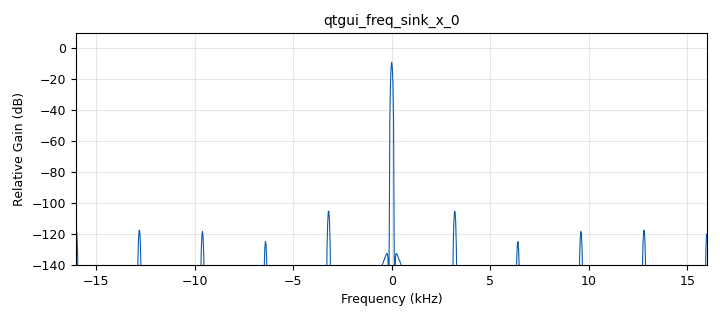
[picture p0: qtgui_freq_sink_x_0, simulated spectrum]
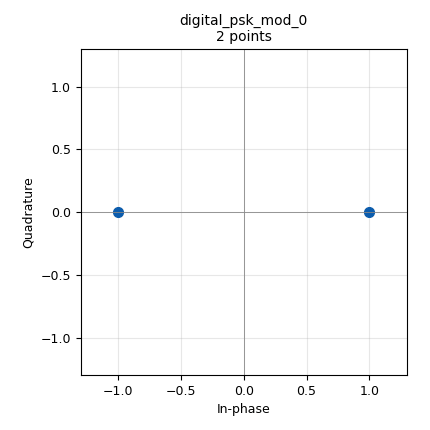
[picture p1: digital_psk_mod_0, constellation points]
options:
  parameters:
    category: Custom
    generate_options: qt_gui
    id: top_block
    output_language: python
  states: {}

blocks:
- name: m
  id: variable
  parameters:
    value: '2'
  states: {}
- name: samp_per_sym
  id: variable
  parameters:
    value: '10'
  states: {}
- name: samp_rate
  id: variable
  parameters:
    value: '32000'
  states: {}
- name: variable_0
  id: variable
  parameters:
    comment: |-
      (COMMENT)
      Enable/Disable appropriate FFT/Freq. blocks.
    value: '0'
  states: {}
- name: analog_random_source_x_0
  id: analog_random_source_x
  parameters:
    max: '2'
    min: '0'
    num_samps: '1000'
    repeat: 'True'
    type: short
  states: {}
- name: analog_sig_source_x_0
  id: analog_sig_source_x
  parameters:
    amp: '1'
    freq: '1000'
    offset: '0'
    phase: '0'
    samp_rate: samp_rate
    type: short
    waveform: analog.GR_COS_WAVE
  states: {}
- name: blocks_add_xx_0
  id: blocks_add_xx
  parameters:
    type: short
  states: {}
- name: blocks_short_to_char_0
  id: blocks_short_to_char
  parameters: {}
  states: {}
- name: blocks_throttle_0
  id: blocks_throttle
  parameters:
    samples_per_second: samp_rate
    type: short
  states: {}
- name: digital_psk_mod_0
  id: digital_psk_mod
  parameters:
    constellation_points: m
    differential: 'True'
    excess_bw: '0.35'
    mod_code: '"gray"'
    samples_per_symbol: samp_per_sym
  states: {}
- name: qtgui_freq_sink_x_0
  id: qtgui_freq_sink_x
  parameters:
    bw: samp_rate
    fc: '0'
    fftsize: '1024'
    showports: 'True'
    type: complex
  states: {}
- name: wxgui_fftsink2_0
  id: wxgui_fftsink2
  parameters:
    average: 'False'
    avg_alpha: '0'
    baseband_freq: '0'
    fft_rate: '15'
    fft_size: '1024'
    freqvar: None
    peak_hold: 'False'
    ref_level: '0'
    ref_scale: '2.0'
    samp_rate: samp_rate
    title: FFT Plot
    type: complex
    win: None
    y_divs: '10'
    y_per_div: '10'
  states: {state: disabled}

connections:
- [analog_random_source_x_0, '0', blocks_add_xx_0, '0']
- [analog_sig_source_x_0, '0', blocks_add_xx_0, '1']
- [blocks_add_xx_0, '0', blocks_throttle_0, '0']
- [blocks_short_to_char_0, '0', digital_psk_mod_0, '0']
- [blocks_throttle_0, '0', blocks_short_to_char_0, '0']
- [digital_psk_mod_0, '0', qtgui_freq_sink_x_0, '0']
- [digital_psk_mod_0, '0', wxgui_fftsink2_0, '0']

metadata:
  file_format: 1
